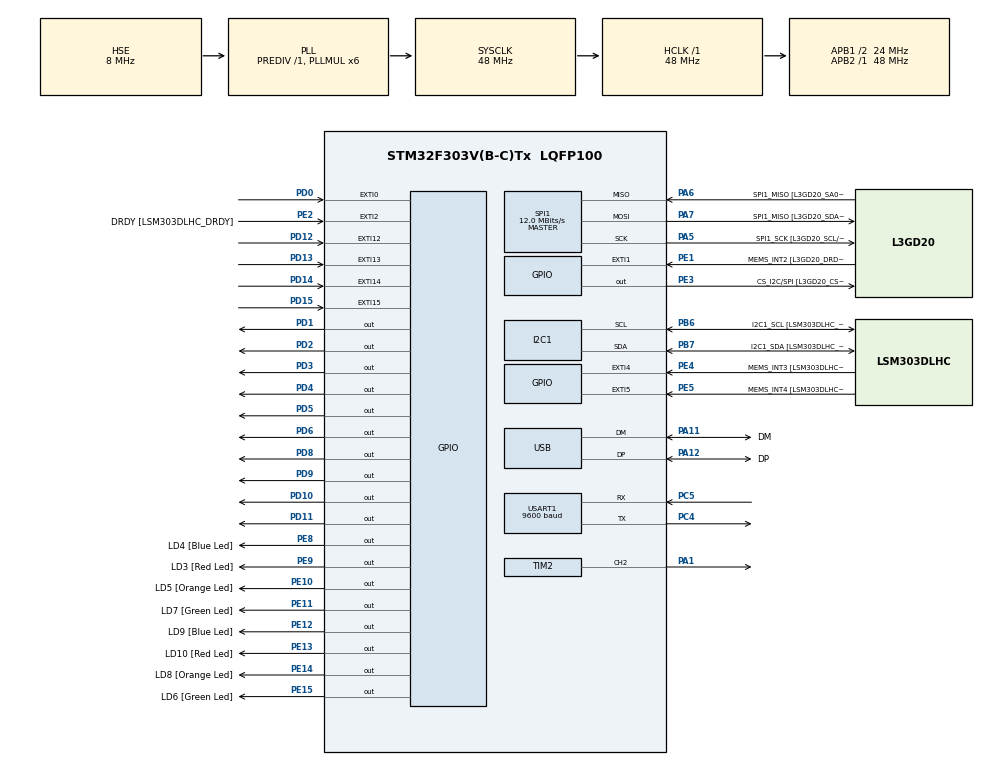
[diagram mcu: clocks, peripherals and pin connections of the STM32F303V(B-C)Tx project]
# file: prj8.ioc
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I2C1.Timing-I2C=0x2000090E
Mcu.Family=STM32F3
Mcu.Name=STM32F303V(B-C)Tx
Mcu.Package=LQFP100
NVIC.EXTI15_10_IRQn=true\:0\:0\:false\:false\:true\:true\:true\:true
NVIC.PriorityGroup=NVIC_PRIORITYGROUP_0
NVIC.USART1_IRQn=true\:0\:0\:false\:false\:true\:true\:true\:true
PA1.Signal=S_TIM2_CH2
PA11.GPIO_Label=DM
PA11.Mode=Device
PA11.Signal=USB_DM
PA12.GPIO_Label=DP
PA12.Mode=Device
PA12.Signal=USB_DP
PA13.GPIO_Label=SWDIO
PA13.Mode=Serial_Wire
PA13.Signal=SYS_JTMS-SWDIO
PA14.GPIO_Label=SWCLK
PA14.Mode=Serial_Wire
PA14.Signal=SYS_JTCK-SWCLK
PA5.GPIO_Label=SPI1_SCK [L3GD20_SCL/SPC]
PA5.Mode=Full_Duplex_Master
PA5.Signal=SPI1_SCK
PA6.GPIO_Label=SPI1_MISO [L3GD20_SA0/SDO]
PA6.Mode=Full_Duplex_Master
PA6.Signal=SPI1_MISO
PA7.GPIO_Label=SPI1_MISO [L3GD20_SDA/SDI/SDO]
PA7.Mode=Full_Duplex_Master
PA7.Signal=SPI1_MOSI
PB3.GPIO_Label=SWO
PB3.Signal=SYS_JTDO-TRACESWO
PB6.GPIO_Label=I2C1_SCL [LSM303DLHC_SCL]
PB6.GPIO_Pu=GPIO_PULLUP
PB6.Mode=I2C
PB6.Signal=I2C1_SCL
PB7.GPIO_Label=I2C1_SDA [LSM303DLHC_SDA]
PB7.GPIO_Pu=GPIO_PULLUP
PB7.Mode=I2C
PB7.Signal=I2C1_SDA
PC14-OSC32_IN.GPIO_Label=OSC32_IN
PC14-OSC32_IN.Signal=RCC_OSC32_IN
PC15-OSC32_OUT.GPIO_Label=OSC32_OUT
PC15-OSC32_OUT.Signal=RCC_OSC32_OUT
PC4.Mode=Asynchronous
PC4.Signal=USART1_TX
PC5.Mode=Asynchronous
PC5.Signal=USART1_RX
PD0.Signal=GPXTI0
PD1.Signal=GPIO_Output
PD10.Signal=GPIO_Output
PD11.Signal=GPIO_Output
PD12.GPIO_PuPd=GPIO_PULLDOWN
PD12.Signal=GPXTI12
PD13.GPIO_PuPd=GPIO_PULLDOWN
PD13.Signal=GPXTI13
PD14.GPIO_PuPd=GPIO_PULLDOWN
PD14.Signal=GPXTI14
PD15.GPIO_PuPd=GPIO_PULLDOWN
PD15.Signal=GPXTI15
PD2.Signal=GPIO_Output
PD3.Signal=GPIO_Output
PD4.Signal=GPIO_Output
PD5.Signal=GPIO_Output
PD6.Signal=GPIO_Output
PD8.Signal=GPIO_Output
PD9.Signal=GPIO_Output
PE1.GPIO_Label=MEMS_INT2 [L3GD20_DRDY/INT2]
PE1.GPIO_ModeDefaultEXTI=GPIO_MODE_EVT_RISING
PE1.Signal=GPXTI1
PE10.GPIO_Label=LD5 [Orange Led]
PE10.Signal=GPIO_Output
PE11.GPIO_Label=LD7 [Green Led]
PE11.Signal=GPIO_Output
PE12.GPIO_Label=LD9 [Blue Led]
PE12.Signal=GPIO_Output
PE13.GPIO_Label=LD10 [Red Led]
PE13.Signal=GPIO_Output
PE14.GPIO_Label=LD8 [Orange Led]
PE14.Signal=GPIO_Output
PE15.GPIO_Label=LD6 [Green Led]
PE15.Signal=GPIO_Output
PE2.GPIO_Label=DRDY [LSM303DLHC_DRDY]
PE2.GPIO_ModeDefaultEXTI=GPIO_MODE_EVT_RISING
PE2.Signal=GPXTI2
PE3.GPIO_Label=CS_I2C/SPI [L3GD20_CS_I2C/SPI]
PE3.Signal=GPIO_Output
PE4.GPIO_Label=MEMS_INT3 [LSM303DLHC_INT1]
PE4.GPIO_ModeDefaultEXTI=GPIO_MODE_EVT_RISING
PE4.Signal=GPXTI4
PE5.GPIO_Label=MEMS_INT4 [LSM303DLHC_INT2]
PE5.GPIO_ModeDefaultEXTI=GPIO_MODE_EVT_RISING
PE5.Signal=GPXTI5
PE8.GPIO_Label=LD4 [Blue Led]
PE8.Signal=GPIO_Output
PE9.GPIO_Label=LD3 [Red Led]
PE9.Signal=GPIO_Output
PF0-OSC_IN.GPIO_Label=OSC_IN
PF0-OSC_IN.Mode=HSE-External-Clock-Source
PF0-OSC_IN.Signal=RCC_OSC_IN
PF1-OSC_OUT.GPIO_Label=OSC_OUT
PF1-OSC_OUT.Signal=RCC_OSC_OUT
ProjectManager.HeapSize=0x200
ProjectManager.StackSize=0x400
ProjectManager.TargetToolchain=STM32CubeIDE
RCC.AHBFreq_Value=48000000
RCC.APB1CLKDivider=RCC_HCLK_DIV2
RCC.APB1Freq_Value=24000000
RCC.APB1TimFreq_Value=48000000
RCC.APB2Freq_Value=48000000
RCC.APB2TimFreq_Value=48000000
RCC.CortexFreq_Value=48000000
RCC.HCLKFreq_Value=48000000
RCC.HSE_VALUE=8000000
RCC.HSI_VALUE=8000000
RCC.LSE_VALUE=32768
RCC.PLLMUL=RCC_PLL_MUL6
RCC.SYSCLKFreq_VALUE=48000000
RCC.SYSCLKSourceVirtual=RCC_SYSCLKSOURCE_PLLCLK
RCC.USBFreq_Value=48000000
RTC.AsynchPrediv=40-1
RTC.SynchPrediv=1000-1
SH.S_TIM2_CH2.0=TIM2_CH2,PWM Generation2 CH2
SPI1.BaudRatePrescaler=SPI_BAUDRATEPRESCALER_4
SPI1.BaudRatePrescaler-Full_Duplex_Master=SPI_BAUDRATEPRESCALER_2
SPI1.CalculateBaudRate=12.0 MBits/s
SPI1.CalculateBaudRate-Full_Duplex_Master=24.0 MBits/s
SPI1.Direction=SPI_DIRECTION_2LINES
SPI1.Mode=SPI_MODE_MASTER
SPI1.Mode-Full_Duplex_Master=SPI_MODE_MASTER
SPI1.VirtualType=VM_MASTER
TIM2.Channel-PWM\ Generation2\ CH2=TIM_CHANNEL_2
USART1.BaudRate=9600
USART1.VirtualMode-Asynchronous=VM_ASYNC
VP_RTC_VS_RTC_Activate.Mode=RTC_Enabled
VP_TIM2_VS_ClockSourceINT.Mode=Internal
board=STM32F3DISCOVERY

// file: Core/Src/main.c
/* USER CODE BEGIN Header */
/**
  ******************************************************************************
  * @file           : main.c
  * @brief          : Main program body
  ******************************************************************************
  * @attention
  *
  * Copyright (c) 2024 STMicroelectronics.
  * All rights reserved.
  *
  * This software is licensed under terms that can be found in the LICENSE file
  * in the root directory of this software component.
  * If no LICENSE file comes with this software, it is provided AS-IS.
  *
  ******************************************************************************
  */
/* USER CODE END Header */
#include "main.h"

/* USER CODE BEGIN Includes */
#include "LiquidCrystal.h"
#include <string.h>
#include <ctype.h>
#include <stdlib.h>
/* USER CODE END Includes */

/* USER CODE BEGIN PTD */
#define DEBOUNCE_TIME 100

typedef unsigned char byte;
byte dinasour[] = {
  0x07,
  0x05,
  0x07,
  0x13,
  0x1F,
  0x0F,
  0x07,
  0x05
};

byte cactus[] = {
  0x04,
  0x14,
  0x15,
  0x1D,
  0x05,
  0x07,
  0x04,
  0x04
};

byte zamin[] = {
  0x1F,
  0x00,
  0x00,
  0x09,
  0x10,
  0x02,
  0x08,
  0x00
};
byte khali[] = {
	0x00,
	0x00,
	0x00,
	0x00,
	0x00,
	0x00,
	0x00,
	0x00
};

typedef struct
{
    uint16_t frequency;
    uint16_t duration;
} Tone;

#define NOTE_B0  31
#define NOTE_C1  33
#define NOTE_CS1 35
#define NOTE_D1  37
#define NOTE_DS1 39
#define NOTE_E1  41
#define NOTE_F1  44
#define NOTE_FS1 46
#define NOTE_G1  49
#define NOTE_GS1 52
#define NOTE_A1  55
#define NOTE_AS1 58
#define NOTE_B1  62
#define NOTE_C2  65
#define NOTE_CS2 69
#define NOTE_D2  73
#define NOTE_DS2 78
#define NOTE_E2  82
#define NOTE_F2  87
#define NOTE_FS2 93
#define NOTE_G2  98
#define NOTE_GS2 104
#define NOTE_A2  110
#define NOTE_AS2 117
#define NOTE_B2  123
#define NOTE_C3  131
#define NOTE_CS3 139
#define NOTE_D3  147
#define NOTE_DS3 156
#define NOTE_E3  165
#define NOTE_F3  175
#define NOTE_FS3 185
#define NOTE_G3  196
#define NOTE_GS3 208
#define NOTE_A3  220
#define NOTE_AS3 233
#define NOTE_B3  247
#define NOTE_C4  262
#define NOTE_CS4 277
#define NOTE_D4  294
#define NOTE_DS4 311
#define NOTE_E4  330
#define NOTE_F4  349
#define NOTE_FS4 370
#define NOTE_G4  392
#define NOTE_GS4 415
#define NOTE_A4  440
#define NOTE_AS4 466
#define NOTE_B4  494
#define NOTE_C5  523
#define NOTE_CS5 554
#define NOTE_D5  587
#define NOTE_DS5 622
#define NOTE_E5  659
#define NOTE_F5  698
#define NOTE_FS5 740
#define NOTE_G5  784
#define NOTE_GS5 831
#define NOTE_A5  880
#define NOTE_AS5 932
#define NOTE_B5  988
#define NOTE_C6  1047
#define NOTE_CS6 1109
#define NOTE_D6  1175
#define NOTE_DS6 1245
#define NOTE_E6  1319
#define NOTE_F6  1397
#define NOTE_FS6 1480
#define NOTE_G6  1568
#define NOTE_GS6 1661
#define NOTE_A6  1760
#define NOTE_AS6 1865
#define NOTE_B6  1976
#define NOTE_C7  2093
#define NOTE_CS7 2217
#define NOTE_D7  2349
#define NOTE_DS7 2489
#define NOTE_E7  2637
#define NOTE_F7  2794
#define NOTE_FS7 2960
#define NOTE_G7  3136
#define NOTE_GS7 3322
#define NOTE_A7  3520
#define NOTE_AS7 3729
#define NOTE_B7  3951
#define NOTE_C8  4186
#define NOTE_CS8 4435
#define NOTE_D8  4699
#define NOTE_DS8 4978
#define REST      0

const Tone super_mario_bros[] = {
    {2637, 306}, {0, 153}, {2637, 153}, {0, 153}, {2093, 153},
    {2637, 153}, {0, 153}, {3136, 153}, {0, 459}, {1586, 153},
    {0, 459}, {2093, 153}, {0, 306}, {1586, 153}, {0, 306}, {1319, 153},
    {0, 306}, {1760, 153}, {0, 153}, {1976, 153}, {0, 153}, {1865, 153},
    {1760, 153}, {0, 153}, {1586, 204}, {2637, 204}, {3136, 204}, {3520, 153},
    {0, 153}, {2794, 153}, {3136, 153}, {0, 153}, {2637, 153}, {0, 153},
    {2093, 153}, {2349, 153}, {1976, 153}, {0, 306}, {2093, 153}, {0, 306},
    {1586, 153}, {0, 306}, {1319, 153}, {0, 306}, {1760, 153}, {0, 153},
    {1976, 153}, {0, 153}, {1865, 153}, {1760, 153}, {0, 153}, {1586, 204},
    {2637, 204}, {3136, 204}, {3520, 153}, {0, 153}, {2794, 153}, {3136, 153},
    {0, 153}, {2637, 153}, {0, 153}, {2093, 153}, {2349, 153}, {1976, 153},
    {0, 306}, {2093, 153}, {0, 306}, {1586, 153}, {0, 306}, {1319, 153},
    {0, 306}, {1760, 153}, {0, 153}, {1976, 153}, {0, 153}, {1865, 153},
    {1760, 153}, {0, 153}, {1586, 204}, {2637, 204}, {3136, 204}, {3520, 153},
    {0, 153}, {2794, 153}, {3136, 153}, {0, 153}, {2637, 153}, {0, 153},
    {2093, 153}, {2349, 153}, {1976, 153}, {0, 306}, {0, 300},{0,0}
};

const Tone hedwig_theme[] = {
    {REST, 750}, {NOTE_D4, 374}, {NOTE_G4, 561}, {NOTE_AS4, 187},
    {NOTE_A4, 374}, {NOTE_G4, 750}, {NOTE_D5, 374}, {NOTE_C5, 1124},
    {NOTE_A4, 1124}, {NOTE_G4, 561}, {NOTE_AS4, 187}, {NOTE_A4, 374},
    {NOTE_F4, 750}, {NOTE_GS4, 374}, {NOTE_D4, 2249}, {NOTE_D4, 374},
    {NOTE_G4, 561}, {NOTE_AS4, 187}, {NOTE_A4, 374}, {NOTE_G4, 750},
    {NOTE_D5, 374}, {NOTE_F5, 750}, {NOTE_E5, 374}, {NOTE_DS5, 750},
    {NOTE_B4, 374}, {NOTE_DS5, 561}, {NOTE_D5, 187}, {NOTE_CS5, 374},
    {NOTE_CS4, 750}, {NOTE_B4, 374}, {NOTE_G4, 2249}, {NOTE_AS4, 374},
    {NOTE_D5, 750}, {NOTE_AS4, 374}, {NOTE_D5, 750}, {NOTE_AS4, 374},
    {NOTE_DS5, 750}, {NOTE_D5, 374}, {NOTE_CS5, 750}, {NOTE_A4, 374},
    {NOTE_AS4, 561}, {NOTE_D5, 187}, {NOTE_CS5, 374}, {NOTE_CS4, 750},
    {NOTE_D4, 374}, {NOTE_D5, 1700}, {REST, 150}, {NOTE_AS4, 374},
    {NOTE_D5, 750}, {NOTE_AS4, 374}, {NOTE_D5, 750}, {NOTE_AS4, 374},
    {NOTE_F5, 750}, {NOTE_E5, 374},
	{NOTE_DS5, 750}, {NOTE_B4, 374}, {NOTE_DS5, 561}, {NOTE_D5, 187},
	{NOTE_CS5, 374}, {NOTE_CS4, 750}, {NOTE_AS4, 374}, {NOTE_G4, 2249},
	{0, 1000},{0,0}
};

const Tone pink_panther[] = {
	{REST, 900}, {REST, 450}, {REST, 225}, {NOTE_DS4, 225},
	{NOTE_E4, 675}, {REST, 225}, {NOTE_FS4, 225}, {NOTE_G4, 675},
	{REST, 225}, {NOTE_DS4, 225}, {NOTE_E4, 337}, {NOTE_FS4, 225},
	{NOTE_G4, 337}, {NOTE_C5, 225}, {NOTE_B4, 337}, {NOTE_B4, 225},
	{NOTE_G4, 337}, {NOTE_B4, 225}, {NOTE_AS4, 900}, {NOTE_A4, 168},
	{NOTE_G4, 168}, {NOTE_E4, 168}, {NOTE_D4, 168}, {NOTE_E4, 900},
	{REST, 450}, {REST, 225}, {NOTE_DS4, 450}, {NOTE_E4, 675},
	{REST, 225}, {NOTE_FS4, 225}, {NOTE_G4, 675}, {REST, 225},
	{NOTE_DS4, 225}, {NOTE_E4, 337}, {NOTE_FS4, 225}, {NOTE_G4, 337},
	{NOTE_C5, 225}, {NOTE_B4, 337}, {NOTE_G4, 225}, {NOTE_B4, 337},
	{NOTE_E5, 225}, {NOTE_DS5, 1800}, {NOTE_D5, 900}, {REST, 450},
	{REST, 225}, {NOTE_DS4, 225}, {NOTE_E4, 750}, {REST, 225},
	{NOTE_FS4, 225}, {NOTE_G4, 750}, {REST, 225}, {NOTE_DS4, 225},
	{NOTE_E4, 337}, {NOTE_FS4, 225}, {NOTE_G4, 337}, {NOTE_C5, 225},
	{NOTE_B4, 337}, {NOTE_E4, 225}, {NOTE_G4, 337}, {NOTE_B4, 225},
	{NOTE_AS4, 900}, {NOTE_A4, 168}, {NOTE_G4, 168}, {NOTE_E4, 168},
	{NOTE_D4, 168}, {NOTE_E4, 675}, {REST, 450}, {REST, 450},
	{NOTE_E5, 337}, {NOTE_D5, 225}, {NOTE_B4, 337}, {NOTE_A4, 225},
	{NOTE_G4, 337}, {NOTE_E4, 337}, {NOTE_AS4, 112}, {NOTE_A4, 337},
	{NOTE_AS4, 112}, {NOTE_A4, 337}, {NOTE_AS4, 112}, {NOTE_A4, 337},
	{NOTE_AS4, 112}, {NOTE_A4, 337}, {NOTE_G4, 168}, {NOTE_E4, 168},
	{NOTE_D4, 168}, {NOTE_E4, 112}, {NOTE_E4, 112}, {NOTE_E4, 900},
	{0, 1000},{0,0}
};

const Tone got[] = {
    {392, 225}, {262, 225}, {311, 112}, {349, 112}, {392, 225}, {262, 225}, {311, 112}, {349, 112},
    {392, 225}, {262, 225}, {311, 112}, {349, 112}, {392, 225}, {262, 225}, {311, 112}, {349, 112},
    {392, 225}, {262, 225}, {330, 112}, {349, 112}, {392, 225}, {262, 225}, {330, 112}, {349, 112},
    {392, 225}, {262, 225}, {330, 112}, {349, 112}, {392, 225}, {262, 225}, {330, 112}, {349, 112},
    {392, 450}, {262, 450},

    {311, 112}, {349, 112}, {392, 450}, {262, 450}, {311, 112}, {349, 112},
    {294, 1800},
    {349, 450}, {233, 450},
    {311, 112}, {294, 112}, {349, 450}, {233, 450},
    {311, 112}, {294, 112}, {262, 1800},

    {392, 450}, {262, 450},

    {311, 112}, {349, 112}, {392, 450}, {262, 450}, {311, 112}, {349, 112},
    {294, 1800},
    {349, 450}, {233, 450},
    {311, 112}, {294, 112}, {349, 450}, {233, 450},
    {311, 112}, {294, 112}, {262, 1800},
    {392, 450}, {262, 450},
    {311, 112}, {349, 112}, {392, 450}, {262, 450}, {311, 112}, {349, 112},

    {294, 900},
    {349, 450}, {233, 450},
    {294, 225}, {311, 225}, {294, 225}, {233, 225},
    {262, 1800},
    {523, 900},
    {466, 900},
    {262, 900},
    {392, 900},
    {311, 900},
    {311, 450}, {349, 450},
    {392, 1800},

    {523, 900},
    {466, 900},
    {262, 900},
    {392, 900},
    {311, 900},
    {311, 450}, {294, 450},
    {523, 225}, {392, 225}, {415, 112}, {466, 112}, {523, 225}, {392, 225}, {415, 112}, {466, 112},
    {523, 225}, {392, 225}, {415, 112}, {466, 112}, {523, 225}, {392, 225}, {415, 112}, {466, 112},

    {0, 450}, {415, 112}, {466, 112}, {523, 225}, {392, 225}, {415, 112}, {466, 112},
    {523, 225}, {392, 112}, {415, 112}, {466, 112}, {523, 225}, {392, 225}, {415, 112}, {466, 112},{0,1000},{0,0}
};
const Tone home_alone[] = {
    {330, 450}, {523, 225}, {494, 225}, {494, 900},
    {523, 225}, {494, 225}, {349, 450}, {392, 450},
    {392, 450}, {330, 450}, {392, 450}, {330, 450},
    {523, 900}, {392, 900},
    {294, 450}, {440, 450}, {392, 450}, {262, 225}, {349, 225},
    {330, 900}, {294, 900},
    {392, 450}, {330, 450}, {392, 450}, {330, 450},
    {523, 900}, {392, 900},
    {440, 225}, {523, 225}, {349, 450}, {330, 225}, {392, 225}, {262, 450},
    {330, 900}, {294, 900},
    {0, 450}, {330, 225}, {262, 225}, {349, 450}, {294, 450},
    {0, 450}, {370, 225}, {294, 225}, {440, 450}, {392, 450},
    {0, 450}, {415, 225}, {330, 225}, {494, 450}, {440, 450},
    {349, 450}, {523, 900}, {440, 450}, {494, 450},
    {392, 450}, {330, 450}, {392, 450}, {330, 450},
    {523, 900}, {392, 900},
    {294, 450}, {440, 450}, {392, 450}, {262, 225}, {349, 225},
    {330, 900}, {294, 900},
    {392, 450}, {330, 450}, {392, 450}, {330, 450},
    {523, 900}, {392, 900},
    {0, 450}, {440, 112}, {494, 112}, {523, 225}, {392, 450}, {330, 450},
    {0, 450}, {440, 112}, {494, 112}, {523, 225}, {392, 450}, {330, 450},
    {0, 450}, {440, 112}, {494, 112}, {523, 225}, {392, 450}, {330, 450},
    {262, 450}, {523, 900}, {494, 450},
    {587, 450}, {330, 450}, {392, 450}, {330, 450},
    {523, 900}, {392, 900},
    {523, 1800},{0,1000},{0,0}
};
const Tone harry_poter[] = {
    {0, 900}, {294, 450}, // REST, D4
    {392, 450}, {466, 225}, {440, 450}, // G4, AS4, A4
    {392, 900}, {587, 450}, // G4, D5
    {523, 900}, // C5
    {440, 900}, // A4
    {392, 450}, {466, 225}, {440, 450}, // G4, AS4, A4
    {349, 900}, {415, 450}, // F4, GS4
    {294, 1800}, // D4
    {294, 450}, // D4

    {392, 450}, {466, 225}, {440, 450}, // G4, AS4, A4
    {392, 900}, {587, 450}, // G4, D5
    {698, 900}, {659, 450}, // F5, E5
    {622, 900}, {494, 450}, // DS5, B4
    {622, 450}, {587, 225}, {554, 450}, // DS5, D5, CS5
    {277, 900}, {494, 450}, // CS4, B4
    {392, 1800}, // G4
    {466, 450}, // AS4

    {587, 900}, {466, 450}, // D5, AS4
    {587, 900}, {466, 450}, // D5, AS4
    {622, 900}, {587, 450}, // DS5, D5
    {554, 900}, {440, 450}, // CS5, A4
    {466, 450}, {587, 225}, {554, 450}, // AS4, D5, CS5
    {277, 900}, {294, 450}, // CS4, D4
    {587, 1800}, // D5
    {0, 450}, {466, 450}, // REST, AS4

    {587, 900}, {466, 450}, // D5, AS4
    {587, 900}, {466, 450}, // D5, AS4
    {698, 900}, {659, 450}, // F5, E5
    {622, 900}, {494, 450}, // DS5, B4
    {622, 450}, {587, 225}, {554, 450}, // DS5, D5, CS5
    {277, 900}, {466, 450}, // CS4, AS4
    {392, 1800},{0,1000},{0,0} // G4
};
const Tone subwaysurf[] = {
    {NOTE_C4, 450}, {REST, 225}, {NOTE_G4, 450}, {REST, 225}, {NOTE_AS4, 450}, {NOTE_C5, 225}, {NOTE_AS4, 225}, {REST, 112}, {NOTE_F4, 225}, {NOTE_DS4, 225}, {REST, 112},
    {NOTE_C4, 450}, {REST, 225}, {NOTE_G4, 450}, {REST, 225}, {NOTE_AS4, 450}, {NOTE_C5, 225}, {NOTE_AS4, 225}, {REST, 112}, {NOTE_F4, 225}, {NOTE_DS4, 225}, {REST, 112},
    {NOTE_C4, 450}, {REST, 225}, {NOTE_G4, 450}, {REST, 225}, {NOTE_AS4, 450}, {NOTE_C5, 225}, {NOTE_AS4, 225}, {REST, 112}, {NOTE_F4, 225}, {NOTE_DS4, 225}, {REST, 112},

    {NOTE_C4, 450}, {REST, 225}, {NOTE_E4, 450}, {REST, 225}, {NOTE_G4, 450}, {NOTE_A4, 450}, {NOTE_AS4, 450},
    {NOTE_C5, 225}, {REST, 112}, {NOTE_C5, 225}, {REST, 112}, {NOTE_AS4, 225}, {REST, 112}, {NOTE_A4, 225}, {REST, 112},
    {NOTE_AS4, 225}, {REST, 112}, {NOTE_AS4, 225}, {NOTE_C5, 225}, {REST, 112}, {NOTE_AS4, 225}, {NOTE_A4, 225}, {REST, 112},
    {REST, 450},
    {NOTE_C5, 225}, {REST, 112}, {NOTE_AS4, 225}, {REST, 112}, {NOTE_A4, 225}, {REST, 112}, {NOTE_AS4, 225}, {REST, 450}, {NOTE_E5, 225},
    {REST, 450},

    {NOTE_C5, 225}, {REST, 112}, {NOTE_C5, 225}, {REST, 112}, {NOTE_AS4, 225}, {REST, 112}, {NOTE_A4, 225}, {REST, 112},
    {NOTE_AS4, 225}, {REST, 112}, {NOTE_AS4, 225}, {NOTE_C5, 225}, {REST, 112}, {NOTE_AS4, 225}, {NOTE_A4, 225}, {REST, 112},
    {REST, 450},
    {NOTE_C5, 225}, {REST, 112}, {NOTE_AS4, 225}, {REST, 112}, {NOTE_A4, 225}, {REST, 112}, {NOTE_AS4, 225}, {REST, 450}, {NOTE_E4, 225},
    {REST, 1800},{0,1000},{0,0}
};
const Tone crb[] = {
    {NOTE_E4, 500}, {NOTE_G4, 500}, {NOTE_A4, 250}, {NOTE_A4, 500}, {REST, 500},
    {NOTE_A4, 500}, {NOTE_B4, 500}, {NOTE_C5, 250}, {NOTE_C5, 500}, {REST, 500},
    {NOTE_C5, 500}, {NOTE_D5, 500}, {NOTE_B4, 250}, {NOTE_B4, 500}, {REST, 500},
    {NOTE_A4, 500}, {NOTE_G4, 500}, {NOTE_A4, 250}, {REST, 500},

    {NOTE_E4, 500}, {NOTE_G4, 500}, {NOTE_A4, 250}, {NOTE_A4, 500}, {REST, 500},
    {NOTE_A4, 500}, {NOTE_B4, 500}, {NOTE_C5, 250}, {NOTE_C5, 500}, {REST, 500},
    {NOTE_C5, 500}, {NOTE_D5, 500}, {NOTE_B4, 250}, {NOTE_B4, 500}, {REST, 500},
    {NOTE_A4, 500}, {NOTE_G4, 500}, {NOTE_A4, 250}, {REST, 500},

    {NOTE_E4, 500}, {NOTE_G4, 500}, {NOTE_A4, 250}, {NOTE_A4, 500}, {REST, 500},
    {NOTE_A4, 500}, {NOTE_C5, 500}, {NOTE_D5, 250}, {NOTE_D5, 500}, {REST, 500},
    {NOTE_D5, 500}, {NOTE_E5, 500}, {NOTE_F5, 250}, {NOTE_F5, 500}, {REST, 500},
    {NOTE_E5, 500}, {NOTE_D5, 500}, {NOTE_E5, 250}, {NOTE_A4, 500}, {REST, 500},

    {NOTE_A4, 500}, {NOTE_B4, 500}, {NOTE_C5, 250}, {NOTE_C5, 500}, {REST, 500},
    {NOTE_D5, 500}, {NOTE_E5, 500}, {NOTE_A4, 250}, {REST, 500},
    {NOTE_A4, 500}, {NOTE_C5, 500}, {NOTE_B4, 250}, {NOTE_B4, 500}, {REST, 500},
    {NOTE_C5, 500}, {NOTE_A4, 500}, {NOTE_B4, 250}, {REST, 500},

    {NOTE_A4, 500}, {NOTE_A4, 250},
    // Repeat of the first part
    {NOTE_A4, 500}, {NOTE_B4, 500}, {NOTE_C5, 250}, {NOTE_C5, 500}, {REST, 500},
    {NOTE_C5, 500}, {NOTE_D5, 500}, {NOTE_B4, 250}, {NOTE_B4, 500}, {REST, 500},
    {NOTE_A4, 500}, {NOTE_G4, 500}, {NOTE_A4, 250}, {REST, 500},

    {NOTE_E4, 500}, {NOTE_G4, 500}, {NOTE_A4, 250}, {NOTE_A4, 500}, {REST, 500},
    {NOTE_A4, 500}, {NOTE_B4, 500}, {NOTE_C5, 250}, {NOTE_C5, 500}, {REST, 500},
    {NOTE_C5, 500}, {NOTE_D5, 500}, {NOTE_B4, 250}, {NOTE_B4, 500}, {REST, 500},
    {NOTE_A4, 500}, {NOTE_G4, 500}, {NOTE_A4, 250}, {REST, 500},

    {NOTE_E4, 500}, {NOTE_G4, 500}, {NOTE_A4, 250}, {NOTE_A4, 500}, {REST, 500},
    {NOTE_A4, 500}, {NOTE_C5, 500}, {NOTE_D5, 250}, {NOTE_D5, 500}, {REST, 500},
    {NOTE_D5, 500}, {NOTE_E5, 500}, {NOTE_F5, 250}, {NOTE_F5, 500}, {REST, 500},
    {NOTE_E5, 500}, {NOTE_D5, 500}, {NOTE_E5, 250}, {NOTE_A4, 500}, {REST, 500},

    {NOTE_A4, 500}, {NOTE_B4, 500}, {NOTE_C5, 250}, {NOTE_C5, 500}, {REST, 500},
    {NOTE_D5, 500}, {NOTE_E5, 500}, {NOTE_A4, 250}, {REST, 500},
    {NOTE_A4, 500}, {NOTE_C5, 500}, {NOTE_B4, 250}, {NOTE_B4, 500}, {REST, 500},
    {NOTE_C5, 500}, {NOTE_A4, 500}, {NOTE_B4, 250}, {REST, 500},
    // End of Repeat

    {NOTE_E5, 375}, {REST, 187}, {REST, 187}, {NOTE_F5, 375}, {REST, 187}, {REST, 187},
    {NOTE_E5, 375}, {NOTE_E5, 375}, {REST, 187}, {NOTE_G5, 375}, {REST, 187}, {NOTE_E5, 375}, {NOTE_D5, 375}, {REST, 187}, {REST, 187},
    {NOTE_D5, 375}, {REST, 187}, {REST, 187}, {NOTE_C5, 375}, {REST, 187}, {REST, 187},
    {NOTE_B4, 375}, {NOTE_C5, 375}, {REST, 187}, {NOTE_B4, 375}, {REST, 187}, {NOTE_A4, 750},

    {NOTE_E5, 375}, {REST, 187},
{REST, 187}, {REST, 187}, {NOTE_F5, 375}, {REST, 187}, {REST, 187},
	{NOTE_E5, 375}, {NOTE_E5, 375}, {REST, 187}, {NOTE_G5, 375}, {REST, 187}, {NOTE_E5, 375}, {NOTE_D5, 375}, {REST, 187}, {REST, 187},
	{NOTE_D5, 375}, {REST, 187}, {REST, 187}, {NOTE_C5, 375}, {REST, 187}, {REST, 187},
	{NOTE_B4, 375}, {NOTE_C5, 375}, {REST, 187}, {NOTE_B4, 375}, {REST, 187}, {NOTE_A4, 750},{0,1000},{0,0}
};
/* USER CODE END PTD */

I2C_HandleTypeDef hi2c1;

RTC_HandleTypeDef hrtc;

SPI_HandleTypeDef hspi1;

TIM_HandleTypeDef htim2;

UART_HandleTypeDef huart1;

PCD_HandleTypeDef hpcd_USB_FS;

void SystemClock_Config(void);
static void MX_GPIO_Init(void);
static void MX_I2C1_Init(void);
static void MX_SPI1_Init(void);
static void MX_USB_PCD_Init(void);
static void MX_RTC_Init(void);
static void MX_USART1_UART_Init(void);
static void MX_TIM2_Init(void);

/* USER CODE BEGIN 0 */
uint8_t data[100];
uint8_t d;
uint8_t i = 0;
int time_got = 0;
int game_start = 0;
int game_start_time = 0;
int game_over = 0;
int cactus_position = 0;
int dinasour_jump = 0;
int dinasour_jump_time = 0;
int game_over_set = 0;
int is_pause = 0;
int current_music = 1;
int volume = 50;
TIM_HandleTypeDef *pwm_timer  = &htim2;
uint32_t pwm_channel = TIM_CHANNEL_2;
const Tone *volatile melody_ptr;
volatile uint16_t melody_tone_count;
volatile uint16_t current_tone_number;
volatile uint32_t current_tone_end;

void Play_Music (){
	if (current_music == 1){
		Change_Melody(pink_panther,  sizeof(pink_panther) / sizeof(pink_panther[0]));
	}
	else if (current_music == 2){
		Change_Melody(crb,  sizeof(crb) / sizeof(crb[0]));
	}
	else if (current_music == 3){
		Change_Melody(got,  sizeof(got) / sizeof(got[0]));
	}
	else if (current_music == 4){
		Change_Melody(subwaysurf,  sizeof(subwaysurf) / sizeof(subwaysurf[0]));
	}
	else if (current_music == 5){
		Change_Melody(harry_poter,  sizeof(harry_poter) / sizeof(harry_poter[0]));
	}
	else if (current_music == 6){
		Change_Melody(home_alone,  sizeof(home_alone) / sizeof(home_alone[0]));
	}
	else if (current_music == 7){
		Change_Melody(hedwig_theme,  sizeof(hedwig_theme) / sizeof(hedwig_theme[0]));
	}
	else if (current_music == 8){
		Change_Melody(super_mario_bros,  sizeof(super_mario_bros) / sizeof(super_mario_bros[0]));
	}
}
void Change_Melody(const Tone *melody,uint32_t tone_count){
	melody_ptr = melody;
	melody_tone_count = tone_count;
	current_tone_number = 0;
}
void Update_Melody(){
	if ((HAL_GetTick() > current_tone_end) && (current_tone_number < melody_tone_count)){
		const Tone active_tone = *(melody_ptr + current_tone_number);
		PWM_Change_Tone(active_tone.frequency, volume);
		current_tone_end = HAL_GetTick() + active_tone.duration;
		current_tone_number++;
	}
	else if (current_tone_number >= melody_tone_count && melody_tone_count != 0){
		current_music++;
		if (current_music>8){
			current_music = 1;
		}
		Play_Music();
	}
}
void PWM_Start(){
	HAL_TIM_PWM_Start(pwm_timer,pwm_channel);
}

void PWM_Change_Tone(uint16_t pwm_freq,uint16_t volume){
	if (pwm_freq == 0 || pwm_freq > 20000){
		__HAL_TIM_SET_COMPARE(pwm_timer,pwm_channel,0);
	}
	else{
		const uint32_t internal_clock_freq = HAL_RCC_GetSysClockFreq();
		const uint16_t prescaler = 1 + internal_clock_freq / pwm_freq / 60000;
		const uint32_t timer_clock = internal_clock_freq / prescaler;
		const uint32_t period_cycles = timer_clock / pwm_freq;
		const uint32_t pulse_width = volume * period_cycles / 1000 / 2;

		pwm_timer->Instance->PSC = prescaler - 1;
		pwm_timer->Instance->ARR = period_cycles - 1;
		pwm_timer->Instance->EGR = TIM_EGR_UG;
		__HAL_TIM_SET_COMPARE(pwm_timer,pwm_channel,pulse_width);
	}
}
void HAL_UART_RxCpltCallback(UART_HandleTypeDef *huart){
	if (huart->Instance == USART1) {
			HAL_UART_Receive_IT(&huart1, &d, 1);
			data[i++] = d;
			if (d == '\n') {
				data[i] = '\0';
				check_time(i);
				i = 0;
			}
		}
}
void check_time (int i){
	if (time_got){
		char error[] = "TIME ALREADY RECIEVED THANKS \n";
		HAL_UART_Transmit(&huart1, error, strlen(error), HAL_MAX_DELAY);
	}
	else if (i != 9){
		char error [] = "PLEASE ENTER TIME IN HH:MM:SS FORMAT\n" ;
		HAL_UART_Transmit(&huart1, error, strlen(error), HAL_MAX_DELAY);
	}
	else {
		if (!isdigit(data[0]) || !isdigit(data[1]) || !isdigit(data[3]) || !isdigit(data[4]) || !isdigit(data[6]) || !isdigit(data[7])){
			char error [] = "TIME SHOULD BE NUMERIC !!\n" ;
			HAL_UART_Transmit(&huart1, error, strlen(error), HAL_MAX_DELAY);
		}
		int hour = (data[0]-'0')*10 + (data[1] - '0');
		int minute = (data[3]-'0')*10 + (data[4] - '0');
		int seconds = (data[6] - '0')*10 + (data[7] - '0');
		if (hour > 23){
			char error [] = "HOUR MUST BE LESS THAN 24\n" ;
			HAL_UART_Transmit(&huart1, error, strlen(error), HAL_MAX_DELAY);
		}
		else if (minute > 59){
			char error [] = "MINUTES MUST BE LESS THAN 60\n" ;
			HAL_UART_Transmit(&huart1, error, strlen(error), HAL_MAX_DELAY);
		}
		else if (seconds > 59){
			char error [] = "SECONDS MUST BE LESS THAN 60\n" ;
			HAL_UART_Transmit(&huart1, error, strlen(error), HAL_MAX_DELAY);
		}
		else{
			char response[] = "WE GOT YOUR TIME ! THANKS !\n";
			HAL_UART_Transmit(&huart1, response, strlen(response), HAL_MAX_DELAY);
			RTC_TimeTypeDef mytime;
			mytime.Hours = hour;
			mytime.Minutes = minute;
			mytime.Seconds = seconds;
			HAL_RTC_SetTime(&hrtc, &mytime, RTC_FORMAT_BIN);
			time_got = 1;
		}
	}
}
void HAL_GPIO_EXTI_Callback(uint16_t GPIO_Pin){
	if (GPIO_Pin == GPIO_PIN_12){
		static uint32_t last_enter_time = 0;
		if (HAL_GetTick() - last_enter_time < DEBOUNCE_TIME){
			return;
		}
		else {
			last_enter_time = HAL_GetTick();
			for (int ii=0;ii<4;ii++){
				HAL_GPIO_WritePin(GPIOD, GPIO_PIN_8, 0);
				HAL_GPIO_WritePin(GPIOD, GPIO_PIN_9, 0);
				HAL_GPIO_WritePin(GPIOD, GPIO_PIN_10, 0);
				HAL_GPIO_WritePin(GPIOD, GPIO_PIN_11, 0);
				if (ii == 0){
				  HAL_GPIO_WritePin(GPIOD, GPIO_PIN_8, 1);
				  if (HAL_GPIO_ReadPin(GPIOD, GPIO_PIN_12)){ // S1
					  HAL_GPIO_TogglePin(GPIOE, GPIO_PIN_8);
				  }
				}
				if (ii == 1){
				  HAL_GPIO_WritePin(GPIOD, GPIO_PIN_9, 1);
				  if (HAL_GPIO_ReadPin(GPIOD, GPIO_PIN_12)){ // S5
					  HAL_GPIO_TogglePin(GPIOE, GPIO_PIN_9);
				  }
				}
				if (ii == 2){
				  HAL_GPIO_WritePin(GPIOD, GPIO_PIN_10, 1);
				  if (HAL_GPIO_ReadPin(GPIOD, GPIO_PIN_12)){ // S9
					  HAL_GPIO_TogglePin(GPIOE, GPIO_PIN_10);
				  }
				}
				if (ii == 3){
				  HAL_GPIO_WritePin(GPIOD, GPIO_PIN_11, 1);
				  if (HAL_GPIO_ReadPin(GPIOD, GPIO_PIN_12)){ // S13
					  HAL_GPIO_TogglePin(GPIOE, GPIO_PIN_11);
				  }
				}
			}
			HAL_GPIO_WritePin(GPIOD, GPIO_PIN_8, 1);
			HAL_GPIO_WritePin(GPIOD, GPIO_PIN_9, 1);
			HAL_GPIO_WritePin(GPIOD, GPIO_PIN_10, 1);
			HAL_GPIO_WritePin(GPIOD, GPIO_PIN_11, 1);
			while(HAL_GPIO_ReadPin(GPIOD, GPIO_PIN_12));
		}
	}
	if (GPIO_Pin == GPIO_PIN_13){
		static uint32_t last_enter_time = 0;
		if (HAL_GetTick() - last_enter_time < DEBOUNCE_TIME){
			return;
		}
		else {
			last_enter_time = HAL_GetTick();
			for (int ii=0;ii<4;ii++){
				HAL_GPIO_WritePin(GPIOD, GPIO_PIN_8, 0);
				HAL_GPIO_WritePin(GPIOD, GPIO_PIN_9, 0);
				HAL_GPIO_WritePin(GPIOD, GPIO_PIN_10, 0);
				HAL_GPIO_WritePin(GPIOD, GPIO_PIN_11, 0);
				if (ii == 0){
				  HAL_GPIO_WritePin(GPIOD, GPIO_PIN_8, 1);
				  if (HAL_GPIO_ReadPin(GPIOD, GPIO_PIN_13)){ // S2
					  HAL_GPIO_TogglePin(GPIOE, GPIO_PIN_12);
					  if (time_got){
						  game_start_time = HAL_GetTick();
						  game_start = 1;
						  Play_Music();
					  }
				  }
				}
				if (ii == 1){
				  HAL_GPIO_WritePin(GPIOD, GPIO_PIN_9, 1);
				  if (HAL_GPIO_ReadPin(GPIOD, GPIO_PIN_13)){ // S6
					  HAL_GPIO_TogglePin(GPIOE, GPIO_PIN_13);
					  if (game_start == 1 && game_over == 0 && !is_pause){
						  dinasour_jump = 1;
						  dinasour_jump_time = HAL_GetTick();
					  }
				  }
				}
				if (ii == 2){
				  HAL_GPIO_WritePin(GPIOD, GPIO_PIN_10, 1);
				  if (HAL_GPIO_ReadPin(GPIOD, GPIO_PIN_13)){ // S10
					  HAL_GPIO_TogglePin(GPIOE, GPIO_PIN_14);
					  if (game_start == 1 && game_over == 0){
						  is_pause = 1 - is_pause ;
					  }
				  }
				}
				if (ii == 3){
				  HAL_GPIO_WritePin(GPIOD, GPIO_PIN_11, 1);
				  if (HAL_GPIO_ReadPin(GPIOD, GPIO_PIN_13)){ // S14
					  HAL_GPIO_TogglePin(GPIOE, GPIO_PIN_15);
					  if (game_start == 1 && game_over == 0){
						  current_music++;
						  if (current_music > 8){
							  current_music = 1;
						  }
						  Play_Music();
					  }
				  }

				}
			}
			HAL_GPIO_WritePin(GPIOD, GPIO_PIN_8, 1);
			HAL_GPIO_WritePin(GPIOD, GPIO_PIN_9, 1);
			HAL_GPIO_WritePin(GPIOD, GPIO_PIN_10, 1);
			HAL_GPIO_WritePin(GPIOD, GPIO_PIN_11, 1);
			while(HAL_GPIO_ReadPin(GPIOD, GPIO_PIN_13));
		}
	}
	if (GPIO_Pin == GPIO_PIN_14){

	}
	if (GPIO_Pin == GPIO_PIN_15){

	}
}
//void HAL_TIM_PeriodElapsedCallback(TIM_HandleTypeDef *htim){
//	if (htim->Instance == TIM6){
//		if (dinasour_jump && HAL_GetTick() - dinasour_jump_time >= 500){
//			dinasour_jump = 0;
//
//		}
//		if (game_start){
//		  cactus_moves();
//		}
//
//	}
//}
void cactus_moves(){
	static uint32_t last_move_time = 0;
	if (HAL_GetTick() - last_move_time >= 200){
		last_move_time = HAL_GetTick();
		if (cactus_position == -1){
			setCursor(19, 2);
			write(1);
			cactus_position=19;
		}
		else if (cactus_position > 1){
			setCursor(cactus_position, 2);
			print(" ");
			setCursor(cactus_position-1, 2);
			write(1);
			cactus_position--;
		}
		else if (cactus_position == 1){
			if (!dinasour_jump){
				game_over = 1;
				game_start = 0;
			}
			else{
				setCursor(cactus_position, 2);
				print(" ");
				setCursor(cactus_position-1, 2);
				write(1);
				cactus_position--;
			}
		}
		else if (cactus_position == 0){
			if (!dinasour_jump){
				game_over = 1;
				game_start = 0;
			}
			else{
				setCursor(cactus_position, 2);
				print(" ");
				cactus_position--;
			}
		}
	}
}

/* USER CODE END 0 */

int main(void)
{

  /* MCU Configuration--------------------------------------------------------*/

  /* Reset of all peripherals, Initializes the Flash interface and the Systick. */
  HAL_Init();

  /* Configure the system clock */
  SystemClock_Config();

  /* Initialize all configured peripherals */
  MX_GPIO_Init();
  MX_I2C1_Init();
  MX_SPI1_Init();
  MX_USB_PCD_Init();
  MX_RTC_Init();
  MX_USART1_UART_Init();
  MX_TIM2_Init();
  /* USER CODE BEGIN 2 */
  PWM_Start();
  LiquidCrystal(GPIOD, GPIO_PIN_0, GPIO_PIN_1, GPIO_PIN_2, GPIO_PIN_3, GPIO_PIN_4, GPIO_PIN_5, GPIO_PIN_6);
  begin(20,4);
  createChar(0, dinasour);
  createChar(1, cactus);
  createChar(2, zamin);
  createChar(3, khali);
  HAL_GPIO_WritePin(GPIOD, GPIO_PIN_8, 1);
  HAL_GPIO_WritePin(GPIOD, GPIO_PIN_9, 1);
  HAL_GPIO_WritePin(GPIOD, GPIO_PIN_10, 1);
  HAL_GPIO_WritePin(GPIOD, GPIO_PIN_11, 1);
  char hello [] = "HELLO ! PLEASE ENTER TIME :\n";
  HAL_UART_Transmit(&huart1, hello, strlen(hello), HAL_MAX_DELAY);
  HAL_UART_Receive_IT(&huart1, &d, 1);

  for (int index = 0; index <20 ;index++){
	  setCursor(index, 3);
	  write(2);
  }
  setCursor (0,2);
  write(0);
  setCursor(16,2);
  write(1);
  cactus_position = 16;
  /* USER CODE END 2 */

  /* Infinite loop */
  while (1)
  {

    /* USER CODE BEGIN 3 */
	  if (game_over && !game_over_set){
		  clear();
		  int haltime = HAL_GetTick();
		  haltime -= game_start_time;
		  haltime/=1000;
		  RTC_TimeTypeDef endtime;
		  HAL_RTC_GetTime(&hrtc, &endtime, RTC_FORMAT_BIN);
		  char struart [30];
		  sprintf (struart,"GAME FINISHED AT %02d:%02d:%02d\n",endtime.Hours , endtime.Minutes,endtime.Seconds);
		  char strled[10];
//		  int randomnumebr = endtime.SubSeconds;
		  sprintf(strled,"SCORE : %d" , haltime);
		  setCursor(5, 1);
		  print("GAME OVER !");
		  setCursor(5, 2);
		  print(strled);
		  HAL_UART_Transmit(&huart1, struart, strlen(struart), HAL_MAX_DELAY);
		  game_over_set = 1 ;
		  PWM_Change_Tone(0, 0);
	  }
	  else if (game_start == 1 && game_over == 0){
		  if (!is_pause){
			  if (dinasour_jump){
				  if (HAL_GetTick() - dinasour_jump_time > 800){
					  setCursor(0, 2);
					  write(0);
					  setCursor(0, 1);
					  print(" ");
					  dinasour_jump = 0;
				  }else{
					  setCursor(0, 2);
					  write(3);
					  setCursor(0, 1);
					  write(0);
				  }
			  }
			  cactus_moves();
			  Update_Melody();
		  }
		  else{
			  PWM_Change_Tone(0, 0);
		  }
	  }

  }
  /* USER CODE END 3 */
}

void SystemClock_Config(void)
{
  RCC_OscInitTypeDef RCC_OscInitStruct = {0};
  RCC_ClkInitTypeDef RCC_ClkInitStruct = {0};
  RCC_PeriphCLKInitTypeDef PeriphClkInit = {0};

  /** Initializes the RCC Oscillators according to the specified parameters
  * in the RCC_OscInitTypeDef structure.
  */
  RCC_OscInitStruct.OscillatorType = RCC_OSCILLATORTYPE_HSI|RCC_OSCILLATORTYPE_LSI
                              |RCC_OSCILLATORTYPE_HSE;
  RCC_OscInitStruct.HSEState = RCC_HSE_BYPASS;
  RCC_OscInitStruct.HSEPredivValue = RCC_HSE_PREDIV_DIV1;
  RCC_OscInitStruct.HSIState = RCC_HSI_ON;
  RCC_OscInitStruct.HSICalibrationValue = RCC_HSICALIBRATION_DEFAULT;
  RCC_OscInitStruct.LSIState = RCC_LSI_ON;
  RCC_OscInitStruct.PLL.PLLState = RCC_PLL_ON;
  RCC_OscInitStruct.PLL.PLLSource = RCC_PLLSOURCE_HSE;
  RCC_OscInitStruct.PLL.PLLMUL = RCC_PLL_MUL6;
  if (HAL_RCC_OscConfig(&RCC_OscInitStruct) != HAL_OK)
  {
    Error_Handler();
  }

  /** Initializes the CPU, AHB and APB buses clocks
  */
  RCC_ClkInitStruct.ClockType = RCC_CLOCKTYPE_HCLK|RCC_CLOCKTYPE_SYSCLK
                              |RCC_CLOCKTYPE_PCLK1|RCC_CLOCKTYPE_PCLK2;
  RCC_ClkInitStruct.SYSCLKSource = RCC_SYSCLKSOURCE_PLLCLK;
  RCC_ClkInitStruct.AHBCLKDivider = RCC_SYSCLK_DIV1;
  RCC_ClkInitStruct.APB1CLKDivider = RCC_HCLK_DIV2;
  RCC_ClkInitStruct.APB2CLKDivider = RCC_HCLK_DIV1;

  if (HAL_RCC_ClockConfig(&RCC_ClkInitStruct, FLASH_LATENCY_1) != HAL_OK)
  {
    Error_Handler();
  }
  PeriphClkInit.PeriphClockSelection = RCC_PERIPHCLK_USB|RCC_PERIPHCLK_USART1
                              |RCC_PERIPHCLK_I2C1|RCC_PERIPHCLK_RTC;
  PeriphClkInit.Usart1ClockSelection = RCC_USART1CLKSOURCE_PCLK2;
  PeriphClkInit.I2c1ClockSelection = RCC_I2C1CLKSOURCE_HSI;
  PeriphClkInit.RTCClockSelection = RCC_RTCCLKSOURCE_LSI;
  PeriphClkInit.USBClockSelection = RCC_USBCLKSOURCE_PLL;
  if (HAL_RCCEx_PeriphCLKConfig(&PeriphClkInit) != HAL_OK)
  {
    Error_Handler();
  }
}

static void MX_I2C1_Init(void)
{

  hi2c1.Instance = I2C1;
  hi2c1.Init.Timing = 0x2000090E;
  hi2c1.Init.OwnAddress1 = 0;
  hi2c1.Init.AddressingMode = I2C_ADDRESSINGMODE_7BIT;
  hi2c1.Init.DualAddressMode = I2C_DUALADDRESS_DISABLE;
  hi2c1.Init.OwnAddress2 = 0;
  hi2c1.Init.OwnAddress2Masks = I2C_OA2_NOMASK;
  hi2c1.Init.GeneralCallMode = I2C_GENERALCALL_DISABLE;
  hi2c1.Init.NoStretchMode = I2C_NOSTRETCH_DISABLE;
  if (HAL_I2C_Init(&hi2c1) != HAL_OK)
  {
    Error_Handler();
  }

  /** Configure Analogue filter
  */
  if (HAL_I2CEx_ConfigAnalogFilter(&hi2c1, I2C_ANALOGFILTER_ENABLE) != HAL_OK)
  {
    Error_Handler();
  }

  /** Configure Digital filter
  */
  if (HAL_I2CEx_ConfigDigitalFilter(&hi2c1, 0) != HAL_OK)
  {
    Error_Handler();
  }

}

static void MX_RTC_Init(void)
{

  /** Initialize RTC Only
  */
  hrtc.Instance = RTC;
  hrtc.Init.HourFormat = RTC_HOURFORMAT_24;
  hrtc.Init.AsynchPrediv = 40-1;
  hrtc.Init.SynchPrediv = 1000-1;
  hrtc.Init.OutPut = RTC_OUTPUT_DISABLE;
  hrtc.Init.OutPutPolarity = RTC_OUTPUT_POLARITY_HIGH;
  hrtc.Init.OutPutType = RTC_OUTPUT_TYPE_OPENDRAIN;
  if (HAL_RTC_Init(&hrtc) != HAL_OK)
  {
    Error_Handler();
  }

}

static void MX_SPI1_Init(void)
{

  /* SPI1 parameter configuration*/
  hspi1.Instance = SPI1;
  hspi1.Init.Mode = SPI_MODE_MASTER;
  hspi1.Init.Direction = SPI_DIRECTION_2LINES;
  hspi1.Init.DataSize = SPI_DATASIZE_4BIT;
  hspi1.Init.CLKPolarity = SPI_POLARITY_LOW;
  hspi1.Init.CLKPhase = SPI_PHASE_1EDGE;
  hspi1.Init.NSS = SPI_NSS_SOFT;
  hspi1.Init.BaudRatePrescaler = SPI_BAUDRATEPRESCALER_4;
  hspi1.Init.FirstBit = SPI_FIRSTBIT_MSB;
  hspi1.Init.TIMode = SPI_TIMODE_DISABLE;
  hspi1.Init.CRCCalculation = SPI_CRCCALCULATION_DISABLE;
  hspi1.Init.CRCPolynomial = 7;
  hspi1.Init.CRCLength = SPI_CRC_LENGTH_DATASIZE;
  hspi1.Init.NSSPMode = SPI_NSS_PULSE_ENABLE;
  if (HAL_SPI_Init(&hspi1) != HAL_OK)
  {
    Error_Handler();
  }

}

static void MX_TIM2_Init(void)
{

  TIM_ClockConfigTypeDef sClockSourceConfig = {0};
  TIM_MasterConfigTypeDef sMasterConfig = {0};
  TIM_OC_InitTypeDef sConfigOC = {0};

  htim2.Instance = TIM2;
  htim2.Init.Prescaler = 0;
  htim2.Init.CounterMode = TIM_COUNTERMODE_UP;
  htim2.Init.Period = 4294967295;
  htim2.Init.ClockDivision = TIM_CLOCKDIVISION_DIV1;
  htim2.Init.AutoReloadPreload = TIM_AUTORELOAD_PRELOAD_DISABLE;
  if (HAL_TIM_Base_Init(&htim2) != HAL_OK)
  {
    Error_Handler();
  }
  sClockSourceConfig.ClockSource = TIM_CLOCKSOURCE_INTERNAL;
  if (HAL_TIM_ConfigClockSource(&htim2, &sClockSourceConfig) != HAL_OK)
  {
    Error_Handler();
  }
  if (HAL_TIM_PWM_Init(&htim2) != HAL_OK)
  {
    Error_Handler();
  }
  sMasterConfig.MasterOutputTrigger = TIM_TRGO_RESET;
  sMasterConfig.MasterSlaveMode = TIM_MASTERSLAVEMODE_DISABLE;
  if (HAL_TIMEx_MasterConfigSynchronization(&htim2, &sMasterConfig) != HAL_OK)
  {
    Error_Handler();
  }
  sConfigOC.OCMode = TIM_OCMODE_PWM1;
  sConfigOC.Pulse = 0;
  sConfigOC.OCPolarity = TIM_OCPOLARITY_HIGH;
  sConfigOC.OCFastMode = TIM_OCFAST_DISABLE;
  if (HAL_TIM_PWM_ConfigChannel(&htim2, &sConfigOC, TIM_CHANNEL_2) != HAL_OK)
  {
    Error_Handler();
  }
  HAL_TIM_MspPostInit(&htim2);

}

static void MX_USART1_UART_Init(void)
{

  huart1.Instance = USART1;
  huart1.Init.BaudRate = 9600;
  huart1.Init.WordLength = UART_WORDLENGTH_8B;
  huart1.Init.StopBits = UART_STOPBITS_1;
  huart1.Init.Parity = UART_PARITY_NONE;
  huart1.Init.Mode = UART_MODE_TX_RX;
  huart1.Init.HwFlowCtl = UART_HWCONTROL_NONE;
  huart1.Init.OverSampling = UART_OVERSAMPLING_16;
  huart1.Init.OneBitSampling = UART_ONE_BIT_SAMPLE_DISABLE;
  huart1.AdvancedInit.AdvFeatureInit = UART_ADVFEATURE_NO_INIT;
  if (HAL_UART_Init(&huart1) != HAL_OK)
  {
    Error_Handler();
  }

}

static void MX_USB_PCD_Init(void)
{

  hpcd_USB_FS.Instance = USB;
  hpcd_USB_FS.Init.dev_endpoints = 8;
  hpcd_USB_FS.Init.speed = PCD_SPEED_FULL;
  hpcd_USB_FS.Init.phy_itface = PCD_PHY_EMBEDDED;
  hpcd_USB_FS.Init.low_power_enable = DISABLE;
  hpcd_USB_FS.Init.battery_charging_enable = DISABLE;
  if (HAL_PCD_Init(&hpcd_USB_FS) != HAL_OK)
  {
    Error_Handler();
  }

}

static void MX_GPIO_Init(void)
{
  GPIO_InitTypeDef GPIO_InitStruct = {0};

  /* GPIO Ports Clock Enable */
  __HAL_RCC_GPIOE_CLK_ENABLE();
  __HAL_RCC_GPIOC_CLK_ENABLE();
  __HAL_RCC_GPIOF_CLK_ENABLE();
  __HAL_RCC_GPIOA_CLK_ENABLE();
  __HAL_RCC_GPIOD_CLK_ENABLE();
  __HAL_RCC_GPIOB_CLK_ENABLE();

  /*Configure GPIO pin Output Level */
  HAL_GPIO_WritePin(GPIOE, CS_I2C_SPI_Pin|LD4_Pin|LD3_Pin|LD5_Pin
                          |LD7_Pin|LD9_Pin|LD10_Pin|LD8_Pin
                          |LD6_Pin, GPIO_PIN_RESET);

  /*Configure GPIO pin Output Level */
  HAL_GPIO_WritePin(GPIOD, GPIO_PIN_8|GPIO_PIN_9|GPIO_PIN_10|GPIO_PIN_11
                          |GPIO_PIN_1|GPIO_PIN_2|GPIO_PIN_3|GPIO_PIN_4
                          |GPIO_PIN_5|GPIO_PIN_6, GPIO_PIN_RESET);

  /*Configure GPIO pins : DRDY_Pin MEMS_INT3_Pin MEMS_INT4_Pin MEMS_INT2_Pin */
  GPIO_InitStruct.Pin = DRDY_Pin|MEMS_INT3_Pin|MEMS_INT4_Pin|MEMS_INT2_Pin;
  GPIO_InitStruct.Mode = GPIO_MODE_EVT_RISING;
  GPIO_InitStruct.Pull = GPIO_NOPULL;
  HAL_GPIO_Init(GPIOE, &GPIO_InitStruct);

  /*Configure GPIO pins : CS_I2C_SPI_Pin LD4_Pin LD3_Pin LD5_Pin
                           LD7_Pin LD9_Pin LD10_Pin LD8_Pin
                           LD6_Pin */
  GPIO_InitStruct.Pin = CS_I2C_SPI_Pin|LD4_Pin|LD3_Pin|LD5_Pin
                          |LD7_Pin|LD9_Pin|LD10_Pin|LD8_Pin
                          |LD6_Pin;
  GPIO_InitStruct.Mode = GPIO_MODE_OUTPUT_PP;
  GPIO_InitStruct.Pull = GPIO_NOPULL;
  GPIO_InitStruct.Speed = GPIO_SPEED_FREQ_LOW;
  HAL_GPIO_Init(GPIOE, &GPIO_InitStruct);

  /*Configure GPIO pins : PD8 PD9 PD10 PD11
                           PD1 PD2 PD3 PD4
                           PD5 PD6 */
  GPIO_InitStruct.Pin = GPIO_PIN_8|GPIO_PIN_9|GPIO_PIN_10|GPIO_PIN_11
                          |GPIO_PIN_1|GPIO_PIN_2|GPIO_PIN_3|GPIO_PIN_4
                          |GPIO_PIN_5|GPIO_PIN_6;
  GPIO_InitStruct.Mode = GPIO_MODE_OUTPUT_PP;
  GPIO_InitStruct.Pull = GPIO_NOPULL;
  GPIO_InitStruct.Speed = GPIO_SPEED_FREQ_LOW;
  HAL_GPIO_Init(GPIOD, &GPIO_InitStruct);

  /*Configure GPIO pins : PD12 PD13 PD14 PD15 */
  GPIO_InitStruct.Pin = GPIO_PIN_12|GPIO_PIN_13|GPIO_PIN_14|GPIO_PIN_15;
  GPIO_InitStruct.Mode = GPIO_MODE_IT_RISING;
  GPIO_InitStruct.Pull = GPIO_PULLDOWN;
  HAL_GPIO_Init(GPIOD, &GPIO_InitStruct);

  /*Configure GPIO pin : PD0 */
  GPIO_InitStruct.Pin = GPIO_PIN_0;
  GPIO_InitStruct.Mode = GPIO_MODE_IT_RISING;
  GPIO_InitStruct.Pull = GPIO_NOPULL;
  HAL_GPIO_Init(GPIOD, &GPIO_InitStruct);

  /* EXTI interrupt init*/
  HAL_NVIC_SetPriority(EXTI15_10_IRQn, 0, 0);
  HAL_NVIC_EnableIRQ(EXTI15_10_IRQn);

}

void Error_Handler(void)
{
  __disable_irq();
  while (1)
  {
  }
}
